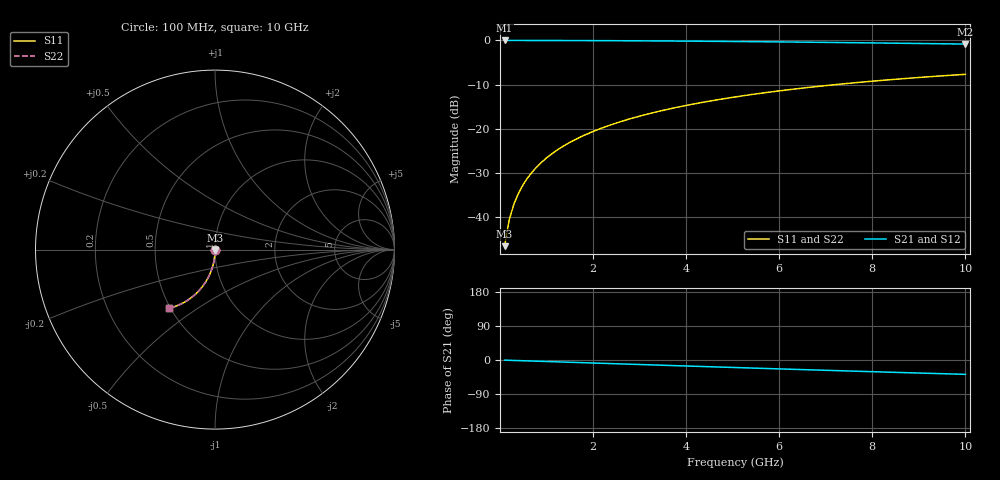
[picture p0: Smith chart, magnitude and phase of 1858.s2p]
# Hz S RI R 50.00
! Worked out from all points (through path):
!   100 points, 100 MHz to 10 GHz, reference 50 ohm
!   highest |S21| = 0.00 dB at 100 MHz (marker M1); lowest = -0.8 dB at 10 GHz (marker M2)
!   group delay of S21, straight-line fit = 10.6 ps
!   lowest |S11| = -46.6 dB at 100 MHz (marker M3), VSWR 1.01, Z = 50 - j0.468 ohm
!   |S11| at or under -10 dB: start of sweep to 7.212 GHz
!   |S22| runs from -46.6 to -7.7 dB; largest |S21 - S12| = 0
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1e8  0.000276 -0.00468  0.9996 -0.00693  0.9996 -0.00693  0.000276 -0.00468
2e8  0.000175 -0.00935  0.9995 -0.0139  0.9995 -0.0139  0.000175 -0.00935
3e8  8.69e-06 -0.014  0.9994 -0.0208  0.9994 -0.0208  8.69e-06 -0.014
4e8  -0.000222 -0.0187  0.9991 -0.0277  0.9991 -0.0277  -0.000222 -0.0187
5e8  -0.000519 -0.0234  0.9988 -0.0346  0.9988 -0.0346  -0.000519 -0.0234
6e8  -0.000879 -0.028  0.9984 -0.0416  0.9984 -0.0416  -0.000879 -0.028
7e8  -0.0013 -0.0327  0.9979 -0.0485  0.9979 -0.0485  -0.0013 -0.0327
8e8  -0.0018 -0.0373  0.9974 -0.0554  0.9974 -0.0554  -0.0018 -0.0373
9e8  -0.00235 -0.042  0.9968 -0.0623  0.9968 -0.0623  -0.00235 -0.042
1.1e9  -0.00365 -0.0512  0.9954 -0.0761  0.9954 -0.0761  -0.00365 -0.0512
1.4e9  -0.00608 -0.065  0.9928 -0.0967  0.9928 -0.0967  -0.00608 -0.065
1.8e9  -0.0102 -0.0833  0.9883 -0.1239  0.9883 -0.1239  -0.0102 -0.0833
2.1e9  -0.014 -0.0967  0.9843 -0.1442  0.9843 -0.1442  -0.014 -0.0967
2.5e9  -0.0198 -0.1144  0.9779 -0.171  0.9779 -0.171  -0.0198 -0.1144
2.9e9  -0.0266 -0.1317  0.9706 -0.1973  0.9706 -0.1973  -0.0266 -0.1317
3.4e9  -0.0364 -0.1526  0.96 -0.2297  0.96 -0.2297  -0.0364 -0.1526
4.2e9  -0.0548 -0.1844  0.94 -0.2798  0.94 -0.2798  -0.0548 -0.1844
5.1e9  -0.0792 -0.2172  0.9134 -0.3333  0.9134 -0.3333  -0.0792 -0.2172
5.9e9  -0.1037 -0.2433  0.8865 -0.3779  0.8865 -0.3779  -0.1037 -0.2433
6.7e9  -0.1303 -0.2663  0.8571 -0.4196  0.8571 -0.4196  -0.1303 -0.2663
8.4e9  -0.1922 -0.3043  0.7882 -0.4977  0.7882 -0.4977  -0.1922 -0.3043
1e10  -0.2537 -0.3263  0.7183 -0.5581  0.7183 -0.5581  -0.2537 -0.3263
